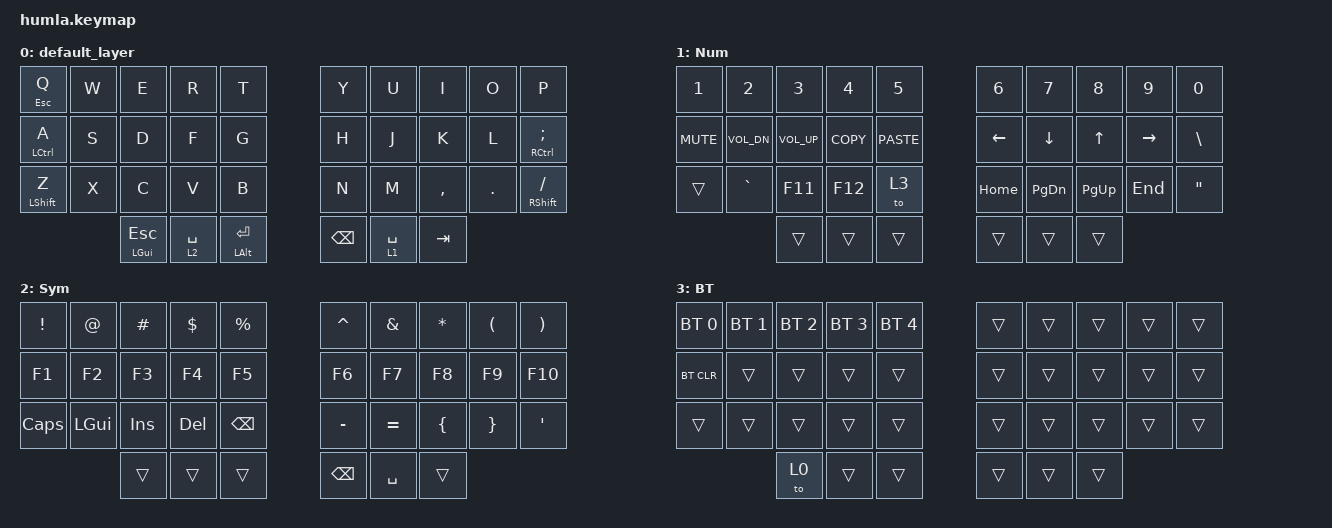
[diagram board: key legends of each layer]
/*
 * Copyright (c) 2020 The ZMK Contributors
 * SPDX-License-Identifier: MIT
 *
 * This is a QWERTY keymap for the Humla keyboard.
 * Last edited by Ewen Cluney, March 25, 2023.
 */

#include <behaviors.dtsi>
#include <dt-bindings/zmk/keys.h>
#include <dt-bindings/zmk/bt.h>

/*
 * 0  1  2  3  4       5  6  7  8  9
 * Q  W  E  R  T       Y  U  I  O  P
 * 
 * 10 11 12 13 14      15 16 17 18 19
 * A  S  D  F  G       H  J  K  L  ;
 * 
 * 20 21 22 23 24      25 26 27 28 29
 * Z  X  C  V  B       N  M  ,  .  /
 */

 / {
    combos {
        compatible = "zmk,combos";
        combo_bc {
            timeout-ms = <25>;
            key-positions = <8 9>;
            bindings = <&kp BSPC>;
        };
        combo_tab {
            timeout-ms = <25>;
            key-positions = <0 1>;
            bindings = <&kp TAB>;
        };
        combo_esc {
            timeout-ms = <25>;
            key-positions = <1 2>;
            bindings = <&kp ESC>;
        };
        combo_ques {
            timeout-ms = <25>;
            key-positions = <26 27>;
            layers = <0>;
            bindings = <&kp QMARK>;
        };
        combo_enter {
            timeout-ms = <25>;
            key-positions = <17 18>;
            layers = <0>;
            bindings = <&kp ENTER>;
        };
    };
};

/ {
    keymap {
        compatible = "zmk,keymap";

        default_layer {
            bindings = <
                &mt ESC Q            &kp W     &kp E     &kp R     &kp T           &kp Y     &kp U     &kp I     &kp O     &kp P
                &mt LCTL A       &kp S     &kp D     &kp F     &kp G           &kp H     &kp J     &kp K     &kp L     &mt RCTL SEMI
                &mt LSHIFT Z     &kp X     &kp C     &kp V     &kp B           &kp N     &kp M     &kp COMMA &kp DOT   &mt RSHIFT SLASH
                             &mt LGUI ESC &lt 2 SPACE &mt LALT ENTER       &kp BSPC &lt 1 SPACE  &kp TAB
            >;
        };

        num_layer {
            label = "Num";
            bindings = <
                &kp N1     &kp N2        &kp N3       &kp N4     &kp N5          &kp N6    &kp N7    &kp N8    &kp N9    &kp N0
                &kp C_MUTE &kp C_VOL_DN  &kp C_VOL_UP &kp K_COPY &kp K_PASTE     &kp LEFT  &kp DOWN  &kp UP    &kp RIGHT &kp BACKSLASH
                &trans     &kp GRAVE     &kp F11      &kp F12    &to 3           &kp HOME  &kp PG_DN &kp PG_UP &kp END   &kp DQT
                                &trans   &trans       &trans                     &trans    &trans    &trans
            >;
        };

        sym_layer {
            label = "Sym";
            bindings = <
                &kp EXCL  &kp AT    &kp HASH  &kp DLLR  &kp PRCNT       &kp CARET &kp AMPS  &kp STAR  &kp LPAR  &kp RPAR
                &kp F1    &kp F2    &kp F3    &kp F4    &kp F5          &kp F6    &kp F7    &kp F8    &kp F9    &kp F10
                &kp CAPS  &kp LGUI  &kp INS   &kp DEL   &kp BSPC        &kp MINUS &kp EQUAL &kp LBRC  &kp RBRC  &kp SQT
                                    &trans    &trans    &trans          &kp BSPC  &kp SPACE &trans
            >;
        };

        bt_layer {
            label = "BT";
            bindings = <
                &bt BT_SEL 0 &bt BT_SEL 1 &bt BT_SEL 2 &bt BT_SEL 3 &bt BT_SEL 4           &trans  &trans  &trans  &trans   &trans
                &bt BT_CLR   &trans       &trans       &trans       &trans                 &trans  &trans  &trans  &trans   &trans
                &trans       &trans       &trans       &trans       &trans                 &trans  &trans  &trans  &trans   &trans
                                          &to 0        &trans       &trans                 &trans  &trans  &trans
            >;
        };

    };
};
